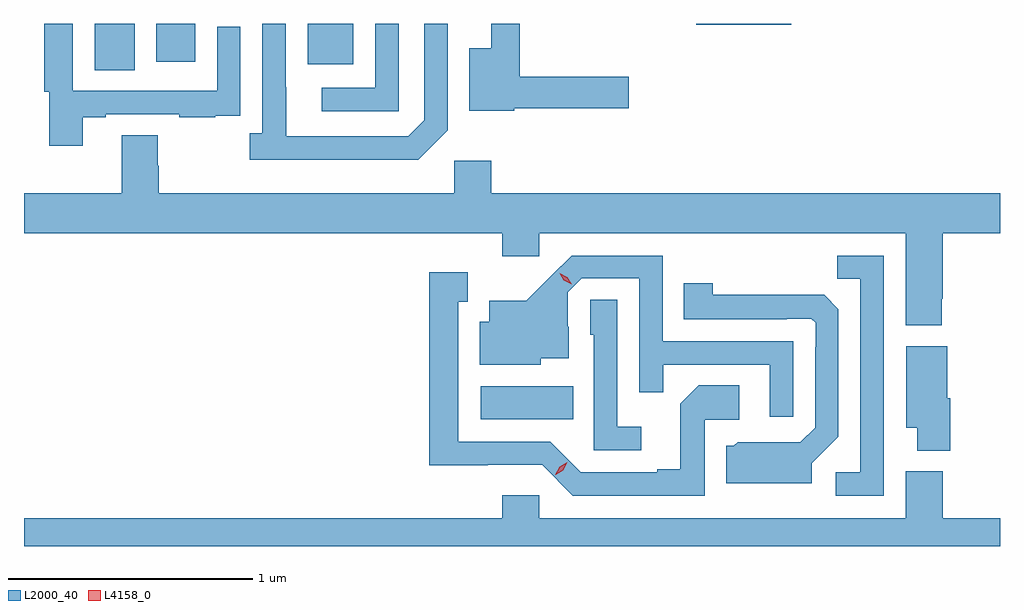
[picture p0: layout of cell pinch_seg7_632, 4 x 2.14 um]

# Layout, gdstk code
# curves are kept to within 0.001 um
import gdstk
lib = gdstk.Library(unit=1e-6, precision=1e-09)
def R(c, l, rs):  # rectangles x0, y0, x1, y1
    for r in rs: c.add(gdstk.rectangle(r[:2], r[2:], *l))
def P(c, l, *ps):  # polygons
    for p in ps: c.add(gdstk.Polygon(p, *l))
L2000_40 = (2000, 40)
L4158_0 = (4158, 0)

pinch_seg7_632 = lib.new_cell('pinch_seg7_632')
R(pinch_seg7_632, L2000_40, [(143.148,998.522,143.528,998.656), (141.566,999.952,141.73,1000.143), (142.439,999.977,142.627,1000.143), (141.818,999.987,141.979,1000.143), (144.032,1000.139,144.421,1000.143)])
P(pinch_seg7_632, L2000_40, [(141.517,999.759),(141.613,999.759),(141.613,999.771),(141.913,999.771),(141.913,999.759),(142.061,999.759),(142.061,999.765),(142.163,999.765),(142.163,999.874),(142.164,999.874),(142.164,1000.129),(142.068,1000.129),(142.068,999.867),(141.477,999.867),(141.477,1000.143),(141.361,1000.143),(141.361,999.864),(141.38,999.864),(141.38,999.642),(141.517,999.642)],
  [(142.812,1000.143),(142.716,1000.143),(142.716,999.879),(142.497,999.879),(142.497,999.783),(142.812,999.783)],
  [(143.013,999.705),(143.013,1000.143),(142.917,1000.143),(142.917,999.747),(142.851,999.681),(142.351,999.681),(142.35,1000.143),(142.254,1000.143),(142.254,999.694),(142.203,999.694),(142.203,999.584),(142.892,999.584)],
  [(143.286,999.796),(143.755,999.796),(143.755,999.925),(143.309,999.925),(143.309,1000.143),(143.192,1000.143),(143.192,1000.042),(143.102,1000.042),(143.102,999.785),(143.286,999.785)],
  [(145.038,999.016),(145.043,999.016),(145.043,999.284),(145.277,999.284),(145.277,999.448),(143.192,999.448),(143.192,999.58),(143.04,999.58),(143.04,999.448),(141.83,999.448),(141.83,999.561),(141.825,999.561),(141.825,999.686),(141.677,999.686),(141.677,999.448),(141.277,999.448),(141.277,999.284),(143.237,999.284),(143.237,999.189),(143.388,999.189),(143.388,999.284),(144.89,999.284),(144.89,998.906),(145.038,998.906)],
  [(144.429,998.841),(143.895,998.841),(143.895,999.192),(143.522,999.192),(143.335,999.007),(143.183,999.007),(143.183,998.92),(143.144,998.92),(143.144,998.744),(143.394,998.744),(143.394,998.771),(143.509,998.771),(143.509,998.9),(143.505,998.9),(143.505,999.042),(143.562,999.099),(143.799,999.099),(143.799,998.632),(143.897,998.632),(143.897,998.745),(144.333,998.745),(144.333,998.532),(144.429,998.532)],
  [(144.801,999.192),(144.61,999.192),(144.61,999.097),(144.705,999.097),(144.705,998.304),(144.603,998.304),(144.603,998.208),(144.801,998.208)],
  [(144.066,998.52),(144.208,998.52),(144.208,998.66),(144.043,998.66),(143.967,998.584),(143.967,998.317),(143.873,998.317),(143.873,998.304),(143.559,998.304),(143.433,998.43),(143.056,998.43),(143.056,999.003),(143.095,999.003),(143.095,999.124),(142.938,999.124),(142.938,998.333),(143.4,998.334),(143.526,998.208),(144.066,998.208)],
  [(144.505,998.34),(144.615,998.45),(144.615,998.972),(144.556,999.031),(144.099,999.032),(144.099,999.079),(143.98,999.079),(143.98,998.931),(144.404,998.931),(144.404,998.934),(144.504,998.934),(144.522,998.916),(144.522,998.816),(144.519,998.816),(144.519,998.487),(144.459,998.427),(144.202,998.428),(144.186,998.412),(144.155,998.412),(144.155,998.258),(144.505,998.258)],
  [(143.806,998.491),(143.709,998.491),(143.709,999.011),(143.598,999.011),(143.598,998.868),(143.613,998.868),(143.613,998.394),(143.806,998.394)],
  [(145.073,998.607),(145.06,998.607),(145.06,998.821),(144.893,998.821),(144.893,998.486),(144.938,998.486),(144.938,998.393),(145.073,998.393)],
  [(145.277,998.116),(145.043,998.116),(145.043,998.308),(144.89,998.308),(144.89,998.116),(143.388,998.116),(143.388,998.209),(143.237,998.209),(143.237,998.116),(141.277,998.116),(141.277,998),(145.277,998)])
P(pinch_seg7_632, L4158_0, [(143.521,999.075),(143.49,999.09),(143.473,999.119),(143.473,999.119),(143.473,999.119),(143.504,999.104),(143.521,999.075),(143.521,999.075)],
  [(143.455,998.293),(143.455,998.293),(143.473,998.326),(143.504,998.345),(143.504,998.345),(143.504,998.345),(143.487,998.312),(143.456,998.293)])

lib.write_gds('pinch_seg7_632.gds')
